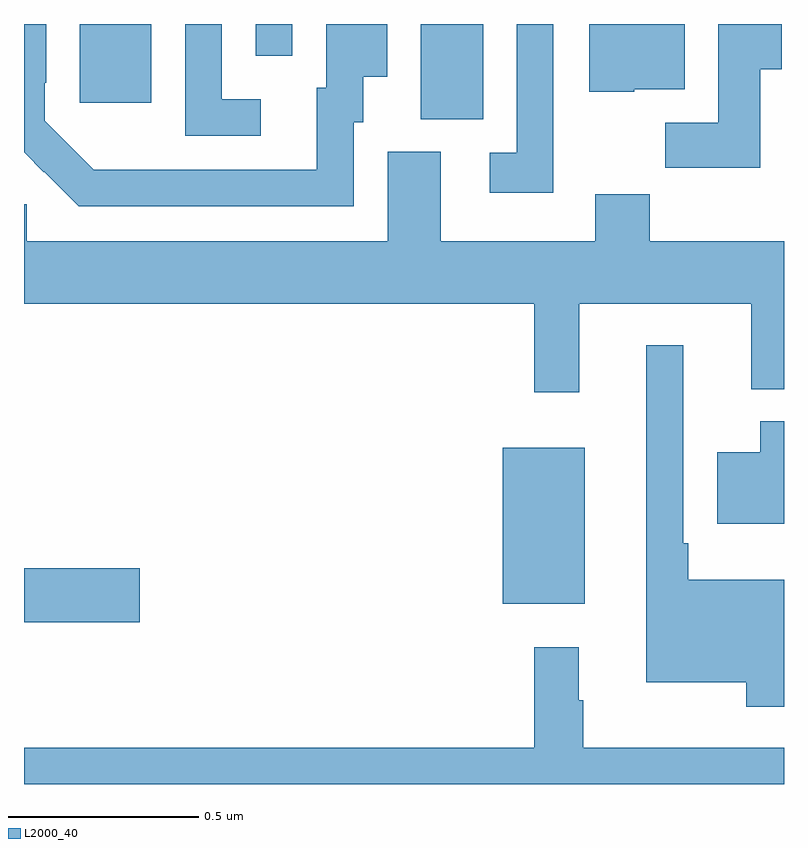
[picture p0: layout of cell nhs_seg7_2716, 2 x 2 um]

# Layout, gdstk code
import gdstk
lib = gdstk.Library(unit=1e-6, precision=1e-09)
def R(c, l, rs):  # rectangles x0, y0, x1, y1
    for r in rs: c.add(gdstk.rectangle(r[:2], r[2:], *l))
def P(c, l, *ps):  # polygons
    for p in ps: c.add(gdstk.Polygon(p, *l))
L2000_40 = (2000, 40)

nhs_seg7_2716 = lib.new_cell('nhs_seg7_2716')
R(nhs_seg7_2716, L2000_40, [(149,1018.426,149.305,1018.568), (150.26,1018.475,150.475,1018.885), (150.044,1019.749,150.208,1020), (149.147,1019.793,149.335,1020), (149.61,1019.916,149.706,1020)])
P(nhs_seg7_2716, L2000_40, [(150.937,1019.881),(150.994,1019.881),(150.994,1020),(150.827,1020),(150.827,1019.74),(150.688,1019.74),(150.688,1019.622),(150.937,1019.622)],
  [(150.393,1020),(150.297,1020),(150.297,1019.661),(150.225,1019.661),(150.225,1019.556),(150.393,1019.556)],
  [(149.623,1019.802),(149.52,1019.802),(149.52,1020),(149.424,1020),(149.424,1019.706),(149.623,1019.706)],
  [(150.606,1019.828),(150.739,1019.828),(150.739,1020),(150.488,1020),(150.488,1019.822),(150.606,1019.822)],
  [(149.868,1019.742),(149.893,1019.742),(149.893,1019.861),(149.956,1019.861),(149.956,1020),(149.795,1020),(149.795,1019.832),(149.771,1019.832),(149.771,1019.616),(149.287,1019.616),(149.287,1019.617),(149.184,1019.617),(149.055,1019.745),(149.055,1019.845),(149.058,1019.845),(149.058,1020),(149,1020),(149,1019.662),(149.052,1019.61),(149.053,1019.611),(149.144,1019.52),(149.868,1019.52)],
  [(150.461,1019.264),(150.914,1019.264),(150.914,1019.039),(151,1019.039),(151,1019.428),(150.647,1019.428),(150.647,1019.552),(150.503,1019.552),(150.503,1019.428),(150.097,1019.428),(150.097,1019.664),(149.957,1019.664),(149.957,1019.428),(149.007,1019.428),(149.007,1019.526),(149,1019.526),(149,1019.264),(150.343,1019.264),(150.343,1019.031),(150.461,1019.031)],
  [(151,1018.537),(150.748,1018.537),(150.748,1018.633),(150.735,1018.633),(150.735,1019.155),(150.638,1019.155),(150.638,1018.268),(150.9,1018.268),(150.9,1018.203),(151,1018.203)],
  [(151,1018.954),(150.938,1018.954),(150.938,1018.873),(150.824,1018.873),(150.824,1018.685),(151,1018.685)],
  [(151,1018.096),(150.472,1018.096),(150.472,1018.22),(150.46,1018.22),(150.46,1018.36),(150.343,1018.36),(150.343,1018.096),(149,1018.096),(149,1018),(151,1018)])

lib.write_gds('nhs_seg7_2716.gds')
